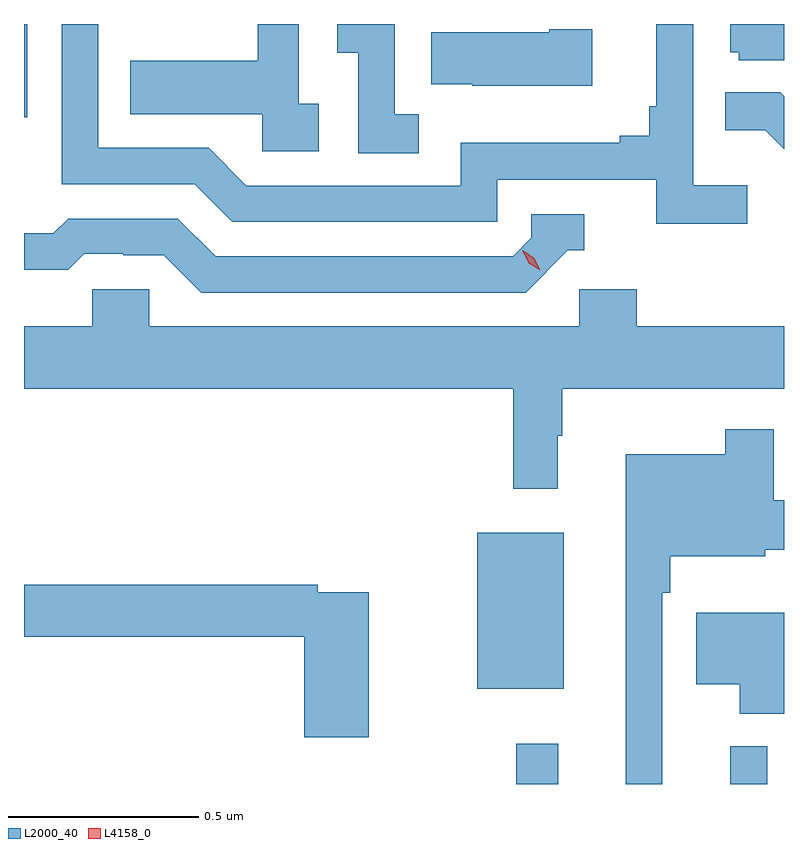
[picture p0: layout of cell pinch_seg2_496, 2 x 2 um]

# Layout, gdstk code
import gdstk
lib = gdstk.Library(unit=1e-6, precision=1e-09)
def R(c, l, rs):  # rectangles x0, y0, x1, y1
    for r in rs: c.add(gdstk.rectangle(r[:2], r[2:], *l))
def P(c, l, *ps):  # polygons
    for p in ps: c.add(gdstk.Polygon(p, *l))
L2000_40 = (2000, 40)
L4158_0 = (4158, 0)

pinch_seg2_496 = lib.new_cell('pinch_seg2_496')
R(pinch_seg2_496, L2000_40, [(939.783,598.644,939.893,598.75), (940.346,598.644,940.443,598.744), (939.68,598.895,939.907,599.305), (938.487,600.399,938.496,600.644)])
P(pinch_seg2_496, L2000_40, [(940.39,600.22),(940.248,600.22),(940.248,600.644),(940.151,600.644),(940.151,600.427),(940.132,600.427),(940.132,600.35),(940.055,600.35),(940.055,600.331),(939.636,600.331),(939.636,600.219),(939.072,600.219),(938.973,600.318),(938.682,600.318),(938.682,600.644),(938.586,600.644),(938.586,600.222),(938.936,600.222),(939.035,600.123),(939.732,600.123),(939.732,600.234),(940.151,600.234),(940.151,600.118),(940.39,600.118)],
  [(939.262,600.434),(939.21,600.434),(939.21,600.644),(939.102,600.644),(939.102,600.547),(938.767,600.547),(938.767,600.407),(939.114,600.407),(939.114,600.309),(939.262,600.309)],
  [(940.487,600.644),(940.346,600.644),(940.346,600.57),(940.368,600.57),(940.368,600.549),(940.487,600.549)],
  [(939.526,600.407),(939.462,600.407),(939.462,600.644),(939.311,600.644),(939.311,600.568),(939.366,600.568),(939.366,600.304),(939.526,600.304)],
  [(939.982,600.63),(939.869,600.63),(939.869,600.622),(939.559,600.622),(939.559,600.485),(939.667,600.485),(939.667,600.482),(939.982,600.482)],
  [(940.487,600.454),(940.477,600.464),(940.333,600.464),(940.333,600.365),(940.437,600.365),(940.487,600.315)],
  [(939.918,600.048),(939.961,600.048),(939.961,600.144),(939.822,600.144),(939.822,600.081),(939.774,600.033),(938.991,600.033),(938.892,600.132),(938.603,600.132),(938.564,600.093),(938.487,600.093),(938.487,599.997),(938.603,599.997),(938.645,600.039),(938.748,600.039),(938.748,600.036),(938.855,600.036),(938.954,599.937),(939.807,599.937)],
  [(939.892,599.561),(939.904,599.561),(939.904,599.684),(940.487,599.684),(940.487,599.848),(940.1,599.848),(940.1,599.946),(939.948,599.946),(939.948,599.848),(938.817,599.848),(938.817,599.946),(938.667,599.946),(938.667,599.848),(938.487,599.848),(938.487,599.684),(939.775,599.684),(939.775,599.421),(939.892,599.421)],
  [(940.167,599.147),(940.187,599.147),(940.187,599.243),(940.437,599.243),(940.437,599.261),(940.487,599.261),(940.487,599.391),(940.46,599.391),(940.46,599.578),(940.332,599.578),(940.332,599.512),(940.07,599.512),(940.07,598.644),(940.167,598.644)],
  [(939.394,599.148),(939.26,599.148),(939.26,599.168),(938.487,599.168),(938.487,599.032),(939.224,599.032),(939.224,598.767),(939.394,598.767)],
  [(940.487,599.095),(940.256,599.095),(940.256,598.907),(940.37,598.907),(940.37,598.829),(940.487,598.829)])
P(pinch_seg2_496, L4158_0, [(939.846,599.996),(939.815,600.015),(939.799,600.047),(939.799,600.048),(939.799,600.048),(939.83,600.028),(939.846,599.996),(939.846,599.996)])

lib.write_gds('pinch_seg2_496.gds')
